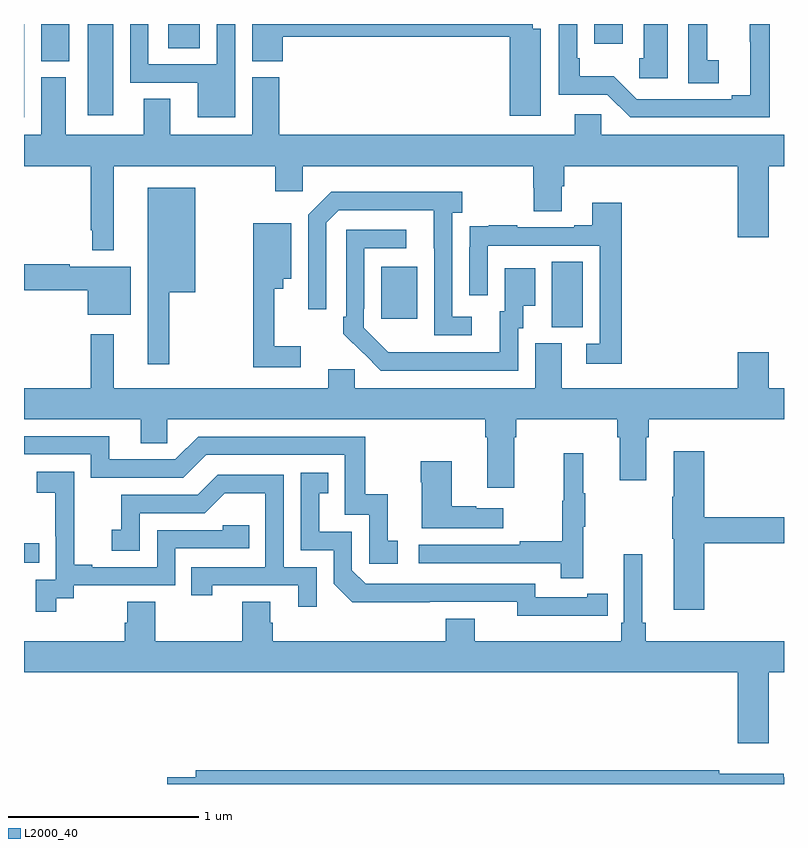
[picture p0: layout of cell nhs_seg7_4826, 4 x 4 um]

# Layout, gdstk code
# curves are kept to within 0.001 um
import gdstk
lib = gdstk.Library(unit=1e-6, precision=1e-09)
def R(c, l, rs):  # rectangles x0, y0, x1, y1
    for r in rs: c.add(gdstk.rectangle(r[:2], r[2:], *l))
def P(c, l, *ps):  # polygons
    for p in ps: c.add(gdstk.Polygon(p, *l))
L2000_40 = (2000, 40)

nhs_seg7_4826 = lib.new_cell('nhs_seg7_4826')
R(nhs_seg7_4826, L2000_40, [(413,1029.165,413.081,1029.266), (415.778,1030.405,415.942,1030.748), (414.881,1030.449,415.069,1030.723), (413,1031.51,413.001,1032), (413.336,1031.52,413.47,1032), (413.09,1031.805,413.239,1032), (413.759,1031.872,413.926,1032), (416,1031.895,416.152,1032)])
P(nhs_seg7_4826, L2000_40, [(416.924,1032),(416.821,1032),(416.822,1031.624),(416.726,1031.624),(416.726,1031.604),(416.226,1031.604),(416.105,1031.725),(415.924,1031.725),(415.924,1031.821),(415.911,1031.821),(415.911,1032),(415.815,1032),(415.815,1031.628),(416.07,1031.628),(416.19,1031.508),(416.924,1031.508)],
  [(416.656,1031.809),(416.595,1031.809),(416.595,1032),(416.496,1032),(416.496,1031.689),(416.656,1031.689)],
  [(416.389,1032),(416.261,1032),(416.261,1031.82),(416.239,1031.82),(416.239,1031.715),(416.389,1031.715)],
  [(415.72,1031.974),(415.678,1031.974),(415.678,1032),(414.2,1032),(414.2,1031.805),(414.362,1031.805),(414.362,1031.932),(415.556,1031.932),(415.556,1031.517),(415.72,1031.517)],
  [(414.111,1032),(414.015,1032),(414.015,1031.787),(413.655,1031.787),(413.655,1032),(413.559,1032),(413.559,1031.691),(413.915,1031.691),(413.915,1031.51),(414.111,1031.51)],
  [(413.473,1031.252),(414.322,1031.252),(414.322,1031.121),(414.468,1031.121),(414.468,1031.252),(415.679,1031.252),(415.679,1031.139),(415.684,1031.139),(415.684,1031.014),(415.831,1031.014),(415.831,1031.146),(415.844,1031.146),(415.844,1031.252),(416.756,1031.252),(416.756,1030.878),(416.92,1030.878),(416.92,1031.252),(417,1031.252),(417,1031.416),(416.037,1031.416),(416.037,1031.526),(415.898,1031.526),(415.898,1031.416),(414.344,1031.416),(414.344,1031.721),(414.2,1031.721),(414.2,1031.416),(413.77,1031.416),(413.77,1031.606),(413.63,1031.606),(413.63,1031.416),(413.221,1031.416),(413.221,1031.721),(413.09,1031.721),(413.09,1031.416),(413,1031.416),(413,1031.252),(413.352,1031.252),(413.352,1030.915),(413.358,1030.915),(413.358,1030.808),(413.473,1030.808)],
  [(413.765,1030.589),(413.902,1030.589),(413.902,1031.137),(413.651,1031.137),(413.651,1030.209),(413.765,1030.209)],
  [(415.357,1030.458),(415.254,1030.458),(415.254,1031.006),(415.306,1031.006),(415.306,1031.116),(414.616,1031.116),(414.495,1030.995),(414.495,1030.5),(414.591,1030.5),(414.591,1030.953),(414.657,1031.019),(415.157,1031.019),(415.158,1030.362),(415.357,1030.362)],
  [(416.147,1031.059),(415.991,1031.059),(415.991,1030.942),(415.895,1030.942),(415.895,1030.929),(415.595,1030.929),(415.595,1030.942),(415.447,1030.942),(415.447,1030.935),(415.345,1030.935),(415.345,1030.826),(415.344,1030.826),(415.344,1030.572),(415.44,1030.572),(415.44,1030.833),(416.031,1030.833),(416.031,1030.317),(415.959,1030.317),(415.959,1030.212),(416.147,1030.212)],
  [(414.457,1030.303),(414.317,1030.303),(414.317,1030.607),(414.364,1030.607),(414.364,1030.658),(414.406,1030.658),(414.406,1030.951),(414.206,1030.951),(414.206,1030.711),(414.207,1030.711),(414.207,1030.194),(414.457,1030.194)],
  [(415.602,1030.398),(415.627,1030.398),(415.627,1030.517),(415.69,1030.517),(415.69,1030.714),(415.529,1030.714),(415.529,1030.488),(415.505,1030.488),(415.505,1030.272),(414.918,1030.273),(414.789,1030.401),(414.789,1030.501),(414.792,1030.501),(414.792,1030.821),(415.012,1030.821),(415.012,1030.917),(414.696,1030.917),(414.696,1030.459),(414.681,1030.459),(414.681,1030.371),(414.878,1030.176),(415.602,1030.176)],
  [(413.563,1030.723),(413.24,1030.723),(413.24,1030.736),(413,1030.736),(413,1030.6),(413.336,1030.6),(413.336,1030.469),(413.563,1030.469)],
  [(416.756,1030.273),(416.756,1030.084),(415.831,1030.084),(415.831,1030.32),(415.691,1030.32),(415.691,1030.084),(414.741,1030.084),(414.741,1030.182),(414.602,1030.182),(414.602,1030.084),(413.473,1030.084),(413.473,1030.366),(413.352,1030.366),(413.352,1030.084),(413,1030.084),(413,1029.92),(413.615,1029.92),(413.615,1029.793),(413.754,1029.793),(413.754,1029.92),(415.427,1029.92),(415.427,1029.824),(415.439,1029.824),(415.439,1029.558),(415.579,1029.558),(415.579,1029.824),(415.592,1029.824),(415.592,1029.92),(416.123,1029.92),(416.123,1029.824),(416.135,1029.824),(416.135,1029.6),(416.275,1029.6),(416.275,1029.824),(416.288,1029.824),(416.288,1029.92),(417,1029.92),(417,1030.084),(416.92,1030.084),(416.92,1030.273)],
  [(414.967,1029.279),(414.914,1029.279),(414.914,1029.526),(414.796,1029.526),(414.796,1029.828),(413.916,1029.828),(413.796,1029.708),(413.449,1029.708),(413.449,1029.831),(413,1029.831),(413,1029.735),(413.352,1029.735),(413.352,1029.612),(413.838,1029.612),(413.958,1029.732),(414.687,1029.732),(414.687,1029.417),(414.816,1029.417),(414.816,1029.159),(414.967,1029.159)],
  [(416.579,1029.268),(417,1029.268),(417,1029.404),(416.579,1029.404),(416.579,1029.751),(416.42,1029.751),(416.42,1029.512),(416.413,1029.512),(416.413,1029.291),(416.42,1029.291),(416.42,1028.916),(416.579,1028.916)],
  [(415.943,1029.355),(415.954,1029.355),(415.954,1029.529),(415.943,1029.529),(415.943,1029.742),(415.84,1029.742),(415.84,1029.492),(415.833,1029.492),(415.833,1029.278),(415.609,1029.278),(415.609,1029.258),(415.077,1029.258),(415.077,1029.162),(415.825,1029.162),(415.825,1029.084),(415.943,1029.084)],
  [(415.522,1029.451),(415.379,1029.451),(415.379,1029.461),(415.252,1029.461),(415.252,1029.7),(415.087,1029.7),(415.087,1029.587),(415.094,1029.587),(415.094,1029.347),(415.522,1029.347)],
  [(413.17,1028.977),(413.262,1028.977),(413.262,1029.045),(413.796,1029.045),(413.796,1029.24),(414.185,1029.24),(414.185,1029.363),(414.045,1029.363),(414.045,1029.336),(413.7,1029.336),(413.7,1029.141),(413.359,1029.141),(413.359,1029.154),(413.264,1029.154),(413.264,1029.437),(413.265,1029.437),(413.265,1029.643),(413.067,1029.643),(413.067,1029.533),(413.165,1029.533),(413.165,1029.305),(413.166,1029.305),(413.166,1029.075),(413.061,1029.075),(413.061,1028.907),(413.17,1028.907)],
  [(415.964,1028.886),(416.072,1028.886),(416.072,1029.002),(415.964,1029.002),(415.964,1028.982),(415.692,1028.982),(415.692,1029.054),(414.798,1029.054),(414.726,1029.126),(414.726,1029.327),(414.553,1029.327),(414.553,1029.531),(414.602,1029.531),(414.602,1029.637),(414.456,1029.637),(414.456,1029.231),(414.63,1029.231),(414.63,1029.054),(414.728,1028.957),(415.596,1028.958),(415.596,1028.885)],
  [(414.54,1029.141),(414.366,1029.141),(414.366,1029.627),(414.02,1029.627),(413.915,1029.522),(413.512,1029.522),(413.512,1029.337),(413.463,1029.337),(413.463,1029.228),(413.61,1029.228),(413.61,1029.426),(413.952,1029.426),(414.056,1029.53),(414.27,1029.53),(414.27,1029.141),(413.881,1029.141),(413.881,1028.994),(413.992,1028.994),(413.992,1029.045),(414.443,1029.045),(414.443,1028.934),(414.54,1028.934)],
  [(416.92,1028.588),(417,1028.588),(417,1028.752),(416.273,1028.752),(416.273,1028.848),(416.254,1028.848),(416.254,1029.208),(416.157,1029.208),(416.157,1028.848),(416.144,1028.848),(416.144,1028.752),(415.372,1028.752),(415.372,1028.869),(415.22,1028.869),(415.22,1028.752),(414.308,1028.752),(414.308,1028.85),(414.295,1028.85),(414.295,1028.96),(414.148,1028.96),(414.148,1028.752),(413.691,1028.752),(413.691,1028.96),(413.543,1028.96),(413.543,1028.85),(413.531,1028.85),(413.531,1028.752),(413,1028.752),(413,1028.588),(416.756,1028.588),(416.756,1028.214),(416.92,1028.214)],
  [(417,1028.036),(416.998,1028.036),(416.998,1028.053),(416.66,1028.053),(416.66,1028.072),(413.903,1028.072),(413.903,1028.036),(413.754,1028.036),(413.754,1028),(417,1028)])

lib.write_gds('nhs_seg7_4826.gds')
